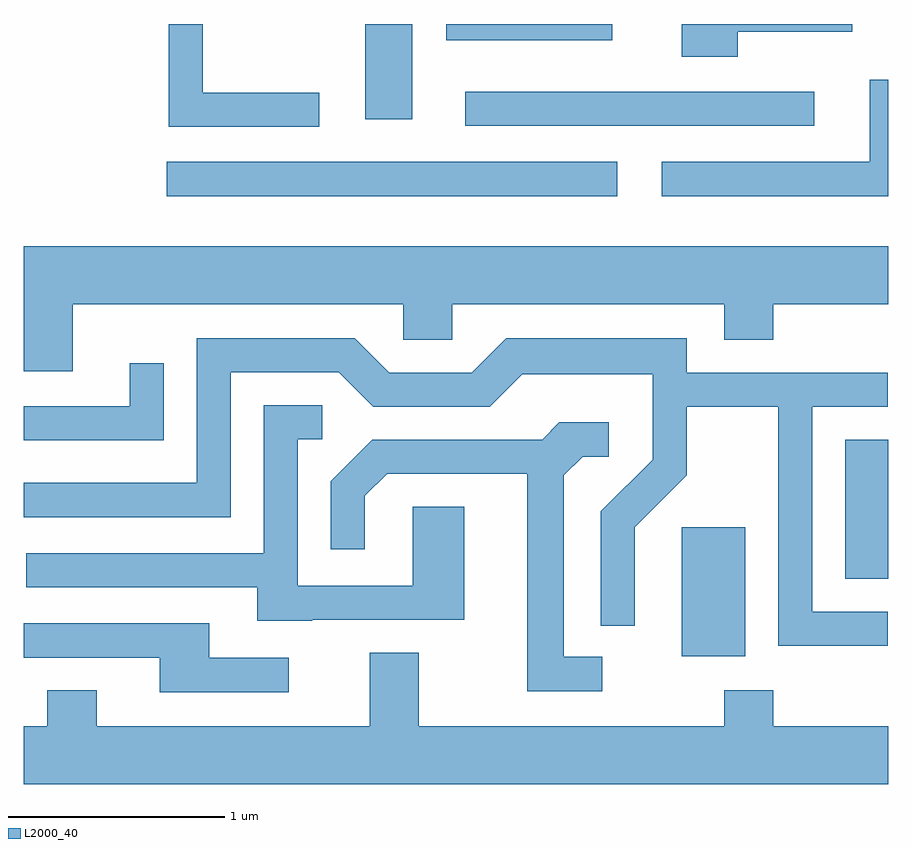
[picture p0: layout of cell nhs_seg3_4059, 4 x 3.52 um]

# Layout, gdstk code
import gdstk
lib = gdstk.Library(unit=1e-6, precision=1e-09)
def R(c, l, rs):  # rectangles x0, y0, x1, y1
    for r in rs: c.add(gdstk.rectangle(r[:2], r[2:], *l))
def P(c, l, *ps):  # polygons
    for p in ps: c.add(gdstk.Polygon(p, *l))
L2000_40 = (2000, 40)

nhs_seg3_4059 = lib.new_cell('nhs_seg3_4059')
R(nhs_seg3_4059, L2000_40, [(306.656,1210.966,306.949,1211.564), (307.411,1211.326,307.611,1211.969), (304.273,1213.096,306.358,1213.254), (305.653,1213.421,307.268,1213.579), (305.191,1213.451,305.409,1213.892), (305.566,1213.816,306.334,1213.892)])
P(nhs_seg3_4059, L2000_40, [(304.978,1213.574),(304.439,1213.574),(304.439,1213.892),(304.281,1213.892),(304.281,1213.416),(304.978,1213.416)],
  [(306.914,1213.856),(307.444,1213.856),(307.444,1213.892),(306.656,1213.892),(306.656,1213.741),(306.914,1213.741)],
  [(307.611,1213.634),(307.526,1213.634),(307.526,1213.254),(306.563,1213.254),(306.563,1213.096),(307.611,1213.096)],
  [(303.839,1212.596),(305.366,1212.596),(305.366,1212.431),(305.594,1212.431),(305.594,1212.596),(306.851,1212.596),(306.851,1212.431),(307.079,1212.431),(307.079,1212.596),(307.611,1212.596),(307.611,1212.864),(303.611,1212.864),(303.611,1212.286),(303.839,1212.286)],
  [(307.608,1211.174),(307.259,1211.174),(307.259,1212.121),(307.608,1212.121),(307.608,1212.279),(306.679,1212.279),(306.679,1212.439),(305.844,1212.439),(305.684,1212.279),(305.302,1212.279),(305.142,1212.439),(304.411,1212.439),(304.411,1211.769),(303.611,1211.769),(303.611,1211.611),(304.569,1211.611),(304.569,1212.281),(305.069,1212.281),(305.229,1212.121),(305.767,1212.121),(305.917,1212.271),(306.521,1212.271),(306.521,1211.877),(306.281,1211.637),(306.281,1211.108),(306.439,1211.108),(306.439,1211.564),(306.679,1211.804),(306.679,1212.121),(307.101,1212.121),(307.101,1211.016),(307.608,1211.016)],
  [(304.259,1212.323),(304.101,1212.323),(304.101,1212.124),(303.611,1212.124),(303.611,1211.966),(304.259,1211.966)],
  [(304.945,1211.136),(305.649,1211.136),(305.649,1211.659),(305.411,1211.659),(305.411,1211.294),(304.879,1211.294),(304.879,1211.971),(304.993,1211.971),(304.993,1212.129),(304.721,1212.129),(304.721,1211.444),(303.623,1211.444),(303.623,1211.286),(304.691,1211.286),(304.691,1211.131),(304.945,1211.131)],
  [(306.288,1210.964),(306.109,1210.964),(306.109,1211.804),(306.197,1211.891),(306.318,1211.891),(306.318,1212.049),(306.089,1212.049),(306.009,1211.969),(305.224,1211.969),(305.031,1211.777),(305.031,1211.463),(305.189,1211.463),(305.189,1211.709),(305.292,1211.811),(305.941,1211.811),(305.941,1210.806),(306.288,1210.806)],
  [(304.838,1210.959),(304.469,1210.959),(304.469,1211.119),(303.611,1211.119),(303.611,1210.961),(304.241,1210.961),(304.241,1210.801),(304.838,1210.801)],
  [(307.611,1210.644),(307.079,1210.644),(307.079,1210.809),(306.851,1210.809),(306.851,1210.644),(305.439,1210.644),(305.439,1210.984),(305.211,1210.984),(305.211,1210.644),(303.949,1210.644),(303.949,1210.809),(303.721,1210.809),(303.721,1210.644),(303.611,1210.644),(303.611,1210.376),(307.611,1210.376)])

lib.write_gds('nhs_seg3_4059.gds')
